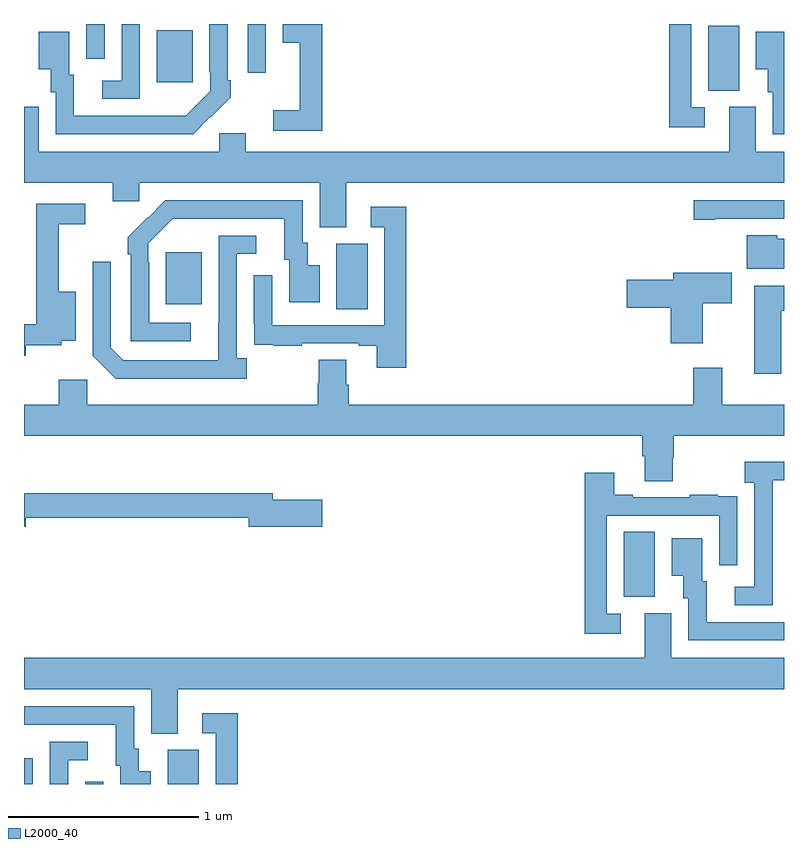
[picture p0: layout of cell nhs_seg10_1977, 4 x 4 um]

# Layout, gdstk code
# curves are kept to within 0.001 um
import gdstk
lib = gdstk.Library(unit=1e-6, precision=1e-09)
def R(c, l, rs):  # rectangles x0, y0, x1, y1
    for r in rs: c.add(gdstk.rectangle(r[:2], r[2:], *l))
def P(c, l, *ps):  # polygons
    for p in ps: c.add(gdstk.Polygon(p, *l))
L2000_40 = (2000, 40)

nhs_seg10_1977 = lib.new_cell('nhs_seg10_1977')
R(nhs_seg10_1977, L2000_40, [(215,1282.5,215.047,1282.636), (215.322,1282.5,215.418,1282.513), (215.756,1282.5,215.92,1282.68), (218.156,1283.485,218.32,1283.828), (216.644,1285,216.808,1285.344), (215.747,1285.025,215.935,1285.3), (218.6,1286.149,218.764,1286.492), (215.699,1286.193,215.887,1286.467), (216.177,1286.244,216.273,1286.5), (215.328,1286.316,215.424,1286.5)])
P(nhs_seg10_1977, L2000_40, [(216.569,1286.5),(216.362,1286.5),(216.362,1286.402),(216.452,1286.402),(216.452,1286.047),(216.312,1286.047),(216.312,1285.938),(216.569,1285.938)],
  [(215.61,1286.5),(215.514,1286.5),(215.514,1286.202),(215.412,1286.202),(215.412,1286.106),(215.61,1286.106)],
  [(215.981,1286.011),(215.982,1286.01),(216.087,1286.115),(216.087,1286.203),(216.072,1286.203),(216.072,1286.5),(215.976,1286.5),(215.976,1286.245),(215.979,1286.245),(215.979,1286.145),(215.851,1286.017),(215.263,1286.016),(215.263,1286.232),(215.239,1286.232),(215.239,1286.458),(215.078,1286.458),(215.078,1286.261),(215.141,1286.261),(215.141,1286.142),(215.166,1286.142),(215.166,1285.92),(215.89,1285.92)],
  [(218.584,1286.061),(218.511,1286.061),(218.511,1286.5),(218.395,1286.5),(218.395,1285.956),(218.584,1285.956)],
  [(219,1286.458),(218.852,1286.458),(218.852,1286.261),(218.915,1286.261),(218.915,1286.142),(218.94,1286.142),(218.94,1285.92),(219,1285.92)],
  [(216.697,1285.664),(219,1285.664),(219,1285.828),(218.851,1285.828),(218.851,1286.064),(218.711,1286.064),(218.711,1285.828),(216.166,1285.828),(216.166,1285.926),(216.027,1285.926),(216.027,1285.828),(215.077,1285.828),(215.077,1286.064),(215,1286.064),(215,1285.664),(215.468,1285.664),(215.468,1285.566),(215.607,1285.566),(215.607,1285.664),(216.557,1285.664),(216.557,1285.429),(216.697,1285.429)],
  [(215.878,1284.927),(215.658,1284.927),(215.658,1285.247),(215.655,1285.247),(215.655,1285.347),(215.784,1285.476),(216.371,1285.476),(216.371,1285.26),(216.395,1285.26),(216.395,1285.035),(216.556,1285.035),(216.556,1285.231),(216.493,1285.231),(216.493,1285.35),(216.468,1285.35),(216.468,1285.572),(215.744,1285.572),(215.547,1285.377),(215.547,1285.289),(215.562,1285.289),(215.562,1284.831),(215.878,1284.831)],
  [(218.638,1285.476),(219,1285.476),(219,1285.572),(218.526,1285.572),(218.526,1285.471),(218.638,1285.471)],
  [(215.008,1284.809),(215.196,1284.809),(215.196,1284.833),(215.272,1284.833),(215.272,1285.09),(215.183,1285.09),(215.183,1285.446),(215.323,1285.446),(215.323,1285.554),(215.065,1285.554),(215.065,1284.92),(215,1284.92),(215,1284.755),(215.008,1284.755)],
  [(217.013,1285.537),(216.825,1285.537),(216.825,1285.431),(216.897,1285.431),(216.897,1284.915),(216.306,1284.915),(216.306,1285.177),(216.21,1285.177),(216.21,1284.922),(216.211,1284.922),(216.211,1284.813),(216.313,1284.813),(216.313,1284.807),(216.461,1284.807),(216.461,1284.819),(216.761,1284.819),(216.761,1284.807),(216.857,1284.807),(216.857,1284.69),(217.013,1284.69)],
  [(219,1285.369),(218.964,1285.369),(218.964,1285.387),(218.804,1285.387),(218.804,1285.211),(219,1285.211)],
  [(216.172,1284.742),(216.12,1284.742),(216.12,1285.29),(216.223,1285.29),(216.223,1285.386),(216.024,1285.386),(216.023,1284.729),(215.523,1284.729),(215.457,1284.795),(215.457,1285.249),(215.361,1285.249),(215.361,1284.753),(215.482,1284.632),(216.172,1284.632)],
  [(218.572,1285.03),(218.725,1285.03),(218.725,1285.192),(218.417,1285.192),(218.417,1285.154),(218.172,1285.154),(218.172,1285.007),(218.405,1285.007),(218.405,1284.819),(218.572,1284.819)],
  [(218.986,1284.992),(219,1284.992),(219,1285.123),(218.843,1285.123),(218.843,1284.66),(218.986,1284.66)],
  [(218.415,1284.219),(218.42,1284.219),(218.42,1284.332),(219,1284.332),(219,1284.496),(218.674,1284.496),(218.674,1284.691),(218.522,1284.691),(218.522,1284.496),(216.71,1284.496),(216.71,1284.602),(216.697,1284.602),(216.697,1284.734),(216.55,1284.734),(216.55,1284.609),(216.545,1284.609),(216.545,1284.496),(215.334,1284.496),(215.334,1284.628),(215.183,1284.628),(215.183,1284.496),(215,1284.496),(215,1284.332),(218.255,1284.332),(218.255,1284.226),(218.267,1284.226),(218.267,1284.094),(218.415,1284.094)],
  [(218.94,1283.899),(218.941,1283.899),(218.941,1284.099),(219,1284.099),(219,1284.196),(218.793,1284.196),(218.793,1284.086),(218.844,1284.086),(218.844,1283.538),(218.742,1283.538),(218.742,1283.442),(218.94,1283.442)],
  [(218.14,1283.397),(218.067,1283.397),(218.067,1283.913),(218.658,1283.913),(218.658,1283.652),(218.754,1283.652),(218.754,1283.906),(218.753,1283.906),(218.753,1284.015),(218.651,1284.015),(218.651,1284.022),(218.503,1284.022),(218.503,1284.009),(218.203,1284.009),(218.203,1284.022),(218.107,1284.022),(218.107,1284.139),(217.951,1284.139),(217.951,1283.292),(218.14,1283.292)],
  [(215.008,1283.902),(216.182,1283.902),(216.182,1283.855),(216.571,1283.855),(216.571,1283.997),(216.31,1283.997),(216.31,1284.031),(215,1284.031),(215,1283.855),(215.008,1283.855)],
  [(219,1283.352),(218.593,1283.352),(218.593,1283.568),(218.569,1283.568),(218.569,1283.794),(218.408,1283.794),(218.408,1283.597),(218.471,1283.597),(218.471,1283.478),(218.496,1283.478),(218.496,1283.256),(219,1283.256)],
  [(215.809,1283),(219,1283),(219,1283.164),(218.407,1283.164),(218.407,1283.4),(218.267,1283.4),(218.267,1283.164),(215,1283.164),(215,1283),(215.669,1283),(215.669,1282.765),(215.809,1282.765)],
  [(215.668,1282.567),(215.605,1282.567),(215.605,1282.686),(215.58,1282.686),(215.58,1282.908),(215,1282.908),(215,1282.812),(215.483,1282.812),(215.483,1282.596),(215.507,1282.596),(215.507,1282.5),(215.668,1282.5)],
  [(216.125,1282.873),(215.937,1282.873),(215.937,1282.767),(216.009,1282.767),(216.009,1282.5),(216.125,1282.5)],
  [(215.232,1282.626),(215.335,1282.626),(215.335,1282.722),(215.136,1282.722),(215.136,1282.5),(215.232,1282.5)])

lib.write_gds('nhs_seg10_1977.gds')
